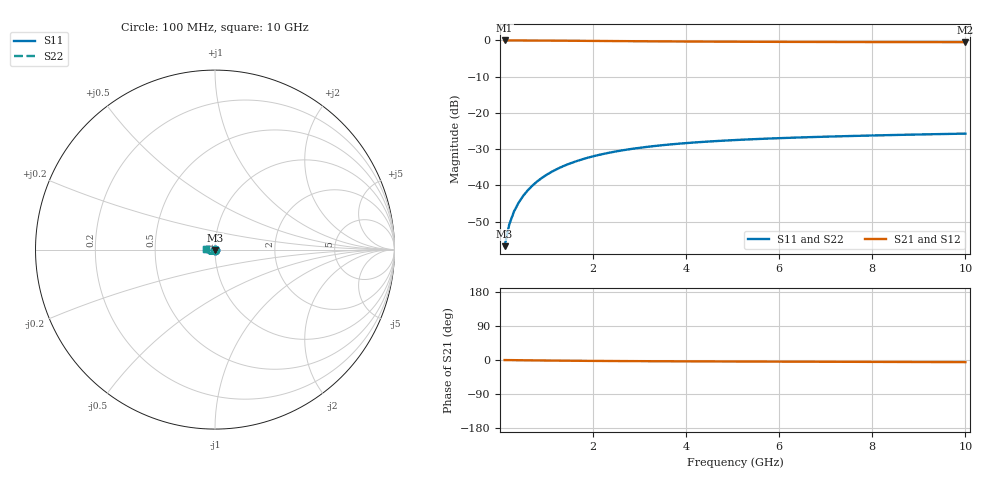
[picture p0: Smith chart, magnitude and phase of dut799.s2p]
! Touchstone file exported from HFSS 2024.1.0
!  File:  C:/UserFiles/LocalFiles/RDL_TSV_Batchsim/temp_TSV1_799_1779876350.aedt
!  Generated:  06:11:14 PM May 27, 2026
!  Design:  TSV1
!  Project:  temp_TSV1_799_1779876350
!  Setup:  Setup1
!  Solution:  Sweep
! Variables:
!  dtsv = 11.04um
!  hbump = 3um
!  htsv = 88.55um
!  lrdl = 252.1521522um
!  p = 40
!  p1 = 55.19um
!  t = 500um
!  trdl = 3um
!  wrdl = 24.89489489um
# GHz S MA R 50.000000
! Terminal data exported
! Port[1] = TSV22_T1
! Port[2] = TSV22_T2
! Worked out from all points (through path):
!   100 points, 100 MHz to 10 GHz, reference 50 ohm
!   highest |S21| = 0.00 dB at 100 MHz (marker M1); lowest = -0.5 dB at 10 GHz (marker M2)
!   lowest |S11| = -56.8 dB at 100 MHz (marker M3), VSWR 1.00, Z = 50 - j0.145 ohm
!   |S11| at or under -10 dB: start of sweep to end of sweep
!   |S22| runs from -56.8 to -25.7 dB; largest |S21 - S12| = 5.2e-15
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0.1  0.001449 -86.9  0.9998 -0.1  0.9998 -0.1  0.001449 -86.9
! Gamma 0 0 0 0
! Port Impedance 50 0 50 0
0.2  0.002889 -91.2  0.9997 -0.3  0.9997 -0.3  0.002889 -91.2
0.3  0.004328 -93.9  0.9994 -0.4  0.9994 -0.4  0.004328 -93.9
0.4  0.00576 -96.2  0.999 -0.6  0.999 -0.6  0.00576 -96.2
0.5  0.007181 -98.3  0.9986 -0.7  0.9986 -0.7  0.007181 -98.3
0.6  0.008585 -100.4  0.9981 -0.8  0.9981 -0.8  0.008585 -100.4
0.7  0.00997 -102.4  0.9975 -1.0  0.9975 -1.0  0.00997 -102.4
0.8  0.01133 -104.3  0.9968 -1.1  0.9968 -1.1  0.01133 -104.3
0.9  0.01266 -106.3  0.9961 -1.2  0.9961 -1.2  0.01266 -106.3
1.1  0.01525 -110.0  0.9944 -1.5  0.9944 -1.5  0.01525 -110.0
1.4  0.01887 -115.3  0.9916 -1.8  0.9916 -1.8  0.01887 -115.3
1.6  0.02111 -118.6  0.9896 -2.0  0.9896 -2.0  0.02111 -118.6
1.8  0.02321 -121.8  0.9875 -2.2  0.9875 -2.2  0.02321 -121.8
2.1  0.02609 -126.4  0.9843 -2.5  0.9843 -2.5  0.02609 -126.4
2.5  0.02945 -132.0  0.9802 -2.7  0.9802 -2.7  0.02945 -132.0
2.9  0.03234 -137.1  0.9762 -3.0  0.9762 -3.0  0.03234 -137.1
3.4  0.03536 -142.7  0.9717 -3.3  0.9717 -3.3  0.03536 -142.7
4.2  0.03916 -150.6  0.9657 -3.6  0.9657 -3.6  0.03916 -150.6
5.1  0.04236 -158.0  0.9603 -4.0  0.9603 -4.0  0.04236 -158.0
6.7  0.04639 -168.7  0.9537 -4.5  0.9537 -4.5  0.04639 -168.7
8.4  0.04945 -177.7  0.9491 -5.1  0.9491 -5.1  0.04945 -177.7
10  0.05179 175.1  0.9462 -5.7  0.9462 -5.7  0.05179 175.1
